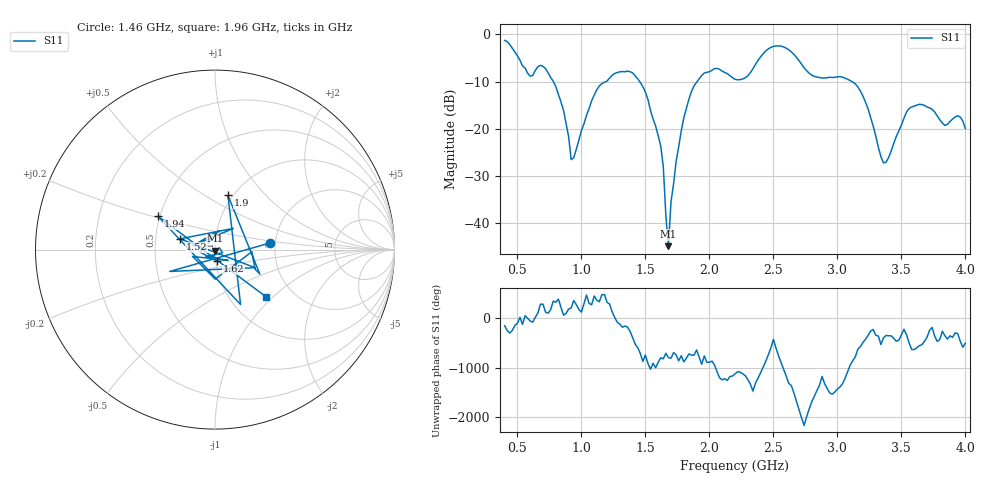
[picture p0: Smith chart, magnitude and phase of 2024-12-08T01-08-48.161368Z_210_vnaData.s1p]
!Created with skrf (http://scikit-rf.org).
# Hz S RI R 50.0
!freq ReS11 ImS11
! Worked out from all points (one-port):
!   181 points, 400 MHz to 4 GHz, reference 50 ohm
!   lowest |S11| = -44.8 dB at 1.68 GHz (marker M1), VSWR 1.01, Z = 50.1 - j0.564 ohm
!   |S11| at or under -10 dB: 781 MHz to 1.192 GHz (410.6 MHz wide, 41.6 % of centre); 1.455 GHz to 1.904 GHz (448.9 MHz wide, 26.7 % of centre); 3.114 GHz to end of sweep
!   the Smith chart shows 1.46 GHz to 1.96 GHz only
!   S11 on the Smith chart (normalised r, x): 1.46 GHz: 1.88, +0.15; 1.52 GHz: 0.67, +0.08; 1.62 GHz: 1.02, -0.13; 1.9 GHz: 0.95, +0.64; 1.94 GHz: 0.49, +0.21; 1.96 GHz: 1.46, -0.91
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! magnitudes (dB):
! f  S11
! 400 MHz  -1.3
! 600 MHz  -8.9
! 720 MHz  -7.3
! 860 MHz  -16.1
! 920 MHz  -26.5
! 1.12 GHz  -11.7
! 1.3 GHz  -7.9
! 1.46 GHz  -10.2
! 1.52 GHz  -13.8
! 1.62 GHz  -23.6
! 1.64 GHz  -28.1
! 1.68 GHz  -44.8
! 1.7 GHz  -35.4
! 1.76 GHz  -23.8
! 1.82 GHz  -15.7
! 1.9 GHz  -10.1
! 1.94 GHz  -8.7
! 1.96 GHz  -8.2
! 2.2 GHz  -9.5
! 2.48 GHz  -2.8
! 2.66 GHz  -4.3
! 2.82 GHz  -8.9
! 3.1 GHz  -9.8
! 3.22 GHz  -14.4
! 3.36 GHz  -27.2
! 3.56 GHz  -15.7
! 3.94 GHz  -17.2
! 4 GHz  -19.9
